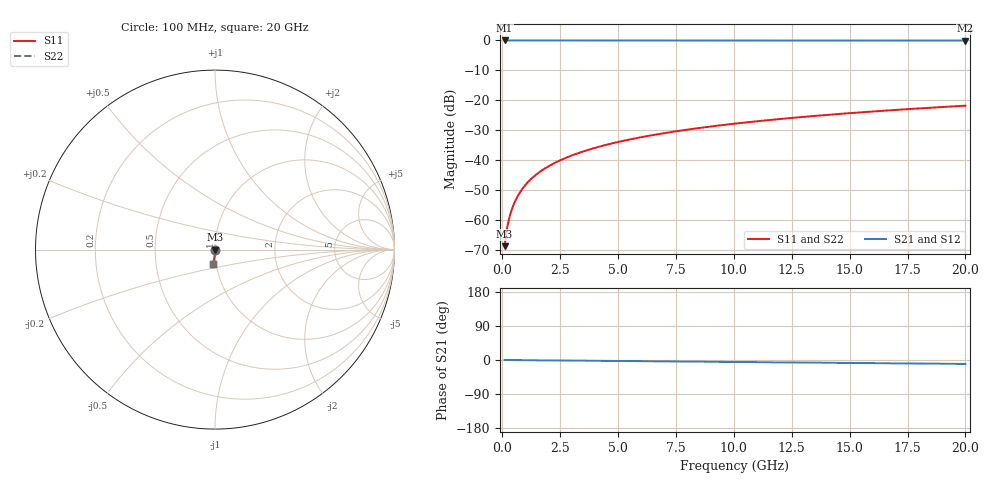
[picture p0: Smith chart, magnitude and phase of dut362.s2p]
! Touchstone file exported from HFSS 2026.1.0
!  File:  C:/ffzhzh/LocalFiles/Ansys_Project_Files/temp_train_TSV_362_1783019337_4048.aedt
!  Generated:  03:10:31 AM Jul  3, 2026
!  Design:  TSV
!  Project:  temp_train_TSV_362_1783019337_4048
! Variables:
!  h_bsmrdl = 2um
!  h_ox = 20um
!  h_rdl = 5um
!  h_sub = 99.25um
!  h_tmrdl = 5um
!  h_tsv = 99.25um
!  h_via = 3um
!  l_bsmrdl = 300um
!  l_sub = 427.68um
!  l_tmrdl = 200um
!  m_sub = 200um
!  pitch = 37.77um
!  r_tsv = 13.84um
!  s_tmrdl = 10um
!  w_bsmrdl = 18um
!  w_sub = 500um
!  w_tmrdl = 12um
!  x_tsv_center1 = 206um
!  x_tsv_center2 = 524um
!  x_tsv_center3 = 736um
!  x_tsv_center4 = 1054um
!  x_tsv_center5 = 1266um
!  x_tsv_center6 = 1584um
# GHz S MA R 50.000000
! Terminal data exported
! Port[1] = TSV1_1_T1
! Port[2] = TSV1_1_T2
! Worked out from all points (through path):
!   200 points, 100 MHz to 20 GHz, reference 50 ohm
!   highest |S21| = 0.00 dB at 100 MHz (marker M1); lowest = 0.0 dB at 20 GHz (marker M2)
!   group delay of S21, straight-line fit = 1.44 ps
!   lowest |S11| = -68.8 dB at 100 MHz (marker M3), VSWR 1.00, Z = 50 - j0.0349 ohm
!   |S11| at or under -10 dB: start of sweep to end of sweep
!   |S22| runs from -68.8 to -21.8 dB; largest |S21 - S12| = 3.1e-15
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0.1  0.0003639 -73.7  0.9999 -0.1  0.9999 -0.1  0.0003639 -73.7
! Gamma 0 0 0 0
! Port Impedance 50 0 50 0
0.2  0.0007151 -80.2  0.9999 -0.1  0.9999 -0.1  0.0007151 -80.2
0.3  0.00108 -82.0  0.9998 -0.2  0.9998 -0.2  0.00108 -82.0
0.4  0.001457 -82.9  0.9998 -0.2  0.9998 -0.2  0.001457 -82.9
0.5  0.001844 -83.4  0.9998 -0.3  0.9998 -0.3  0.001844 -83.4
0.7  0.002636 -84.3  0.9997 -0.4  0.9997 -0.4  0.002636 -84.3
0.8  0.003038 -84.7  0.9997 -0.4  0.9997 -0.4  0.003038 -84.7
1  0.003846 -85.4  0.9996 -0.5  0.9996 -0.5  0.003846 -85.4
1.2  0.004657 -86.0  0.9996 -0.6  0.9996 -0.6  0.004657 -86.0
1.4  0.005468 -86.5  0.9996 -0.7  0.9996 -0.7  0.005468 -86.5
1.7  0.006684 -87.2  0.9995 -0.9  0.9995 -0.9  0.006684 -87.2
2  0.0079 -87.7  0.9995 -1.1  0.9995 -1.1  0.0079 -87.7
2.7  0.01073 -88.6  0.9994 -1.4  0.9994 -1.4  0.01073 -88.6
3.5  0.01398 -89.4  0.9993 -1.8  0.9993 -1.8  0.01398 -89.4
4.2  0.01682 -90.0  0.9992 -2.2  0.9992 -2.2  0.01682 -90.0
5  0.02008 -90.6  0.9991 -2.6  0.9991 -2.6  0.02008 -90.6
6.8  0.02743 -91.8  0.9988 -3.5  0.9988 -3.5  0.02743 -91.8
8.3  0.03357 -92.7  0.9985 -4.3  0.9985 -4.3  0.03357 -92.7
10.1  0.04093 -93.8  0.9981 -5.3  0.9981 -5.3  0.04093 -93.8
13.4  0.0544 -95.7  0.9973 -7.0  0.9973 -7.0  0.0544 -95.7
16.7  0.06782 -97.6  0.9964 -8.7  0.9964 -8.7  0.06782 -97.6
20  0.08118 -99.3  0.9952 -10.4  0.9952 -10.4  0.08118 -99.3
